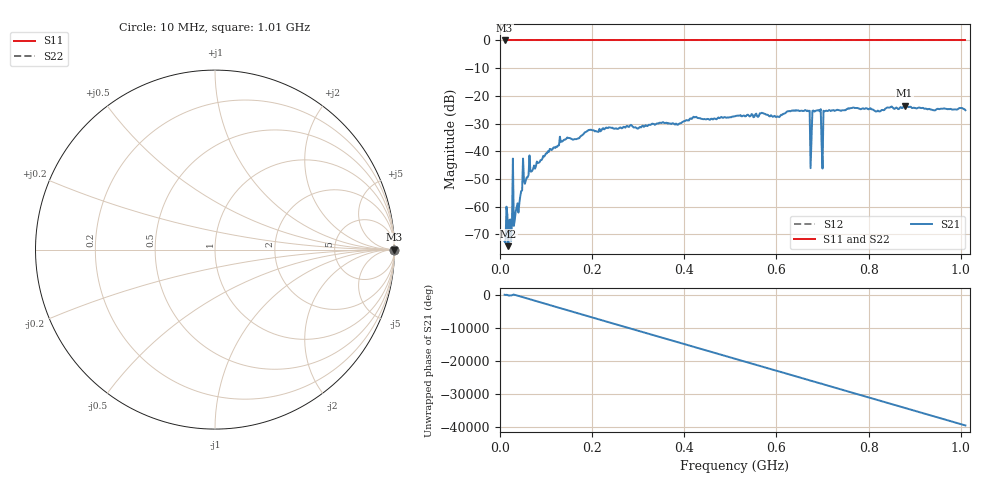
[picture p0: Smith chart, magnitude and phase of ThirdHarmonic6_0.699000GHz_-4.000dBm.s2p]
! 8/15/2025 11:20:39 PM
! C:\ANRITSUVNA\TEMP\TEMP.S2P
! CHANNEL.1
! TR.MEASUREMENT
! RAW.DATA
! RF.CORRECTION.OFF
! AVERAGING.OFF
! IF.BANDWIDTH: 5KHZ
! SWEEPTYPE:  FREQ.SWEEP(Linear)
! Reference Plane Port Info
! PORT:  PORT1  PORT2
! DISTANCE:  0  m  0  m
! TIME:  0  s  0  s
! PHASE.OFFSET:  0  deg.  0  deg.
! LOSS:  0  dB  0  dB
! REF.LOSS:  0  dB  0  dB
! REF.FREQ:  0  Hz  0  Hz
! Power Info
! POWER:  -20  dBm  -20  dBm
! EFF.POWER:  -20  dBm  -20  dBm
! SOURCE.ATTEN:  0  dB  0  dB
! TEST.ATTEN:  0  dB  0  dB
# GHZ S RI R 50.0
! FREQ.GHZ  S11RE  S11IM  S21RE  S21IM  S12RE  S12IM  S22RE  S22IM
!; PortSelection: Port_12
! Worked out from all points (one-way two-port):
!   501 points, 10 MHz to 1.01 GHz, reference 50 ohm
!   highest |S21| = -23.59 dB at 878 MHz (marker M1); lowest = -74.2 dB at 18 MHz (marker M2)
!   lowest |S11| = 0.0 dB at 10 MHz (marker M3)
!   |S11| at or under -10 dB: nowhere
!   |S22| runs from 0.0 to 0.0 dB; largest |S21 - S12| = 1.1
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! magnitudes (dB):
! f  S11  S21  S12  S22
! 10 MHz  0.0  -72.6  0.0  0.0
! 18 MHz  0.0  -74.2  0.0  0.0
! 22 MHz  0.0  -64.6  0.0  0.0
! 24 MHz  0.0  -72.3  0.0  0.0
! 32 MHz  0.0  -64.8  0.0  0.0
! 34 MHz  0.0  -61.8  0.0  0.0
! 48 MHz  0.0  -54.1  0.0  0.0
! 68 MHz  0.0  -47.3  0.0  0.0
! 178 MHz  0.0  -34.2  0.0  0.0
! 344 MHz  0.0  -30.0  0.0  0.0
! 510 MHz  0.0  -27.4  0.0  0.0
! 666 MHz  0.0  -25.5  0.0  0.0
! 672 MHz  0.0  -25.4  0.0  0.0
! 678 MHz  0.0  -25.4  0.0  0.0
! 682 MHz  0.0  -25.7  0.0  0.0
! 692 MHz  0.0  -25.1  0.0  0.0
! 696 MHz  0.0  -24.8  0.0  0.0
! 702 MHz  0.0  -25.4  0.0  0.0
! 706 MHz  0.0  -25.4  0.0  0.0
! 844 MHz  0.0  -24.3  0.0  0.0
! 878 MHz  0.0  -23.6  0.0  0.0
! 1.01 GHz  0.0  -25.2  0.0  0.0
